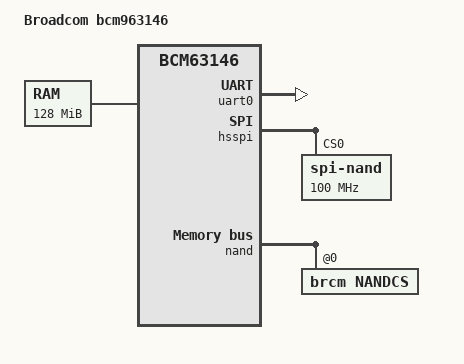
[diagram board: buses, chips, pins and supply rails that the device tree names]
// SPDX-License-Identifier: GPL-2.0+
/*
 * Copyright (C) 2019 Philippe Reynes <philippe.reynes@softathome.com>
 */

/dts-v1/;

#include "bcm63146.dtsi"

/ {
	model = "Broadcom bcm963146";
	compatible = "broadcom,bcm963146", "brcm,bcm63146";

	aliases {
		serial0 = &uart0;
	};

	chosen {
		stdout-path = "serial0:115200n8";
	};

	memory {
		device_type = "memory";
		reg = <0x0 0x0 0x0 0x08000000>;
	};

	boot_state {
		u-boot,dm-pre-reloc;
		compatible = "brcm,bcmbca-bootstate-v2";
		reg-names = "reset_reason", "reset_status";
		reg =   <0x0 0xff802628 0x0 0x04>,
			<0x0 0xff85a01c 0x0 0x04>;
	};


};

&uart0 {
	u-boot,dm-pre-reloc;
	status = "okay";
};

&hsspi {
	status = "okay";
	spi-nand {
		compatible = "spi-nand";
		reg = <0>;
		#address-cells = <1>;
		#size-cells = <0>;
		u-boot,dm-pre-reloc;				
		spi-max-frequency = <100000000>;
	};
};

&nand {
	status = "okay";
	write-protect = <1>;
	#address-cells = <1>;
	#size-cells = <0>;

	nandcs@0 {
		compatible = "brcm,nandcs";
		reg = <0>;
	};
};

/* FIXME!
&rgmii {
	status = "okay";
};
*/

&mdio {
	phy1:1 {
		status = "okay";
	};

	phy2:2 {
		status = "okay";
	};

	phy3:3 {
		status = "okay";
	};

	phy4:4 {
		status = "okay";
	};

	phy5:5 {
		status = "okay";
	};

	/* FIXME
	phy_rgmii: phy_rgmii {
		tx-delay;
		status = "okay";
	};

	phy_ext_serdes: ext_serdes {
		reg = <0x1e>;
		phy-type = "EXT1";
		enet-phy-lane-swap;
		status = "okay";
	};

	phy_serdes: serdes {
		phy-handle = <&phy_ext_serdes>;
		status = "okay";
	}; */
};

&switch0 {
	ports {
		port0@0 {
			status = "okay";
		};

		port1@1 {
			status = "okay";
		};

		port2@2 {
			status = "okay";
		};

		port3@3 {
			status = "okay";
		};

		port4@4 {
			status = "okay";
		};

/* FIXME
		port5@5 {
			status = "okay";
		};
*/
	};
};

